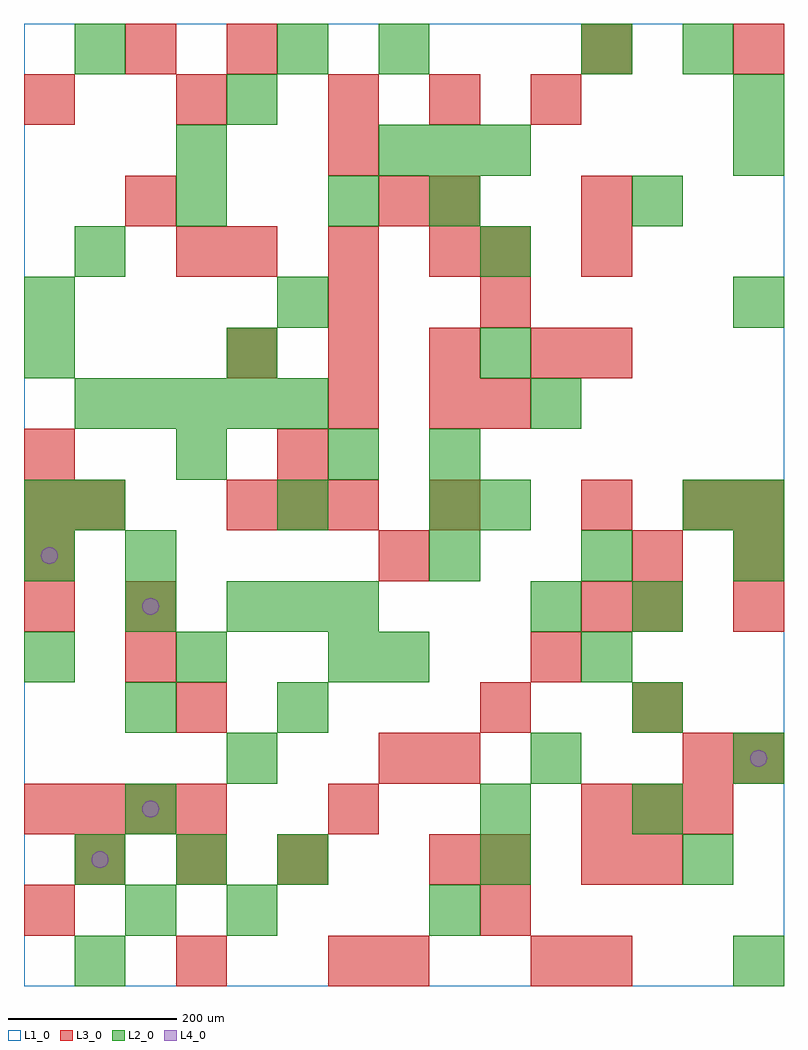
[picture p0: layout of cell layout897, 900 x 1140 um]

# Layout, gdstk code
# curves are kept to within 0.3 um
import gdstk
lib = gdstk.Library(unit=1e-6, precision=1e-09)
def R(c, l, rs):  # rectangles x0, y0, x1, y1
    for r in rs: c.add(gdstk.rectangle(r[:2], r[2:], *l))
def A(c, l, x, y, w, h, nx, ny, dx, dy):  # array of equal rectangles
    R(c, l, [(x+i*dx, y+j*dy, x+i*dx+w, y+j*dy+h) for i in range(nx) for j in range(ny)])
def P(c, l, *ps):  # polygons
    for p in ps: c.add(gdstk.Polygon(p, *l))
L1_0 = (1, 0)
L2_0 = (2, 0)
L3_0 = (3, 0)
L4_0 = (4, 0)

layout897 = lib.new_cell('layout897')
R(layout897, L1_0, [(0,0,900,1140)])
A(layout897, L2_0, 120, 60, 60, 60, 1, 4, 0, 120)
A(layout897, L2_0, 60, 120, 60, 60, 3, 1, 120, 0)
A(layout897, L2_0, 720, 180, 60, 60, 1, 3, 0, 120)
A(layout897, L2_0, 300, 300, 60, 60, 1, 3, 0, 240)
A(layout897, L2_0, 0, 360, 60, 60, 3, 1, 180, 0)
A(layout897, L2_0, 240, 420, 60, 60, 3, 1, 60, 0)
A(layout897, L2_0, 480, 480, 60, 60, 3, 1, 180, 0)
A(layout897, L2_0, 60, 660, 60, 60, 5, 1, 60, 0)
A(layout897, L2_0, 420, 960, 60, 60, 3, 1, 60, 0)
R(layout897, L2_0, [(60,0,120,60), (840,0,900,60), (240,60,300,120), (480,60,540,120), (540,120,600,180), (780,120,840,180), (540,180,600,240), (240,240,300,300), (600,240,660,300), (840,240,900,300), (420,360,480,420), (660,360,720,420), (600,420,660,480), (0,480,60,540), (120,480,180,540), (0,540,60,600), (60,540,120,600), (480,540,540,600), (540,540,600,600), (780,540,840,600), (840,540,900,600), (180,600,240,660), (360,600,420,660), (480,600,540,660), (600,660,660,720), (0,720,60,780), (240,720,300,780), (540,720,600,780), (0,780,60,840), (840,780,900,840), (60,840,120,900), (540,840,600,900), (180,900,240,960), (360,900,420,960), (480,900,540,960), (720,900,780,960), (180,960,240,1020), (840,960,900,1020), (240,1020,300,1080), (840,1020,900,1080), (60,1080,120,1140), (300,1080,360,1140), (420,1080,480,1140), (660,1080,720,1140), (780,1080,840,1140)])
A(layout897, L3_0, 420, 0, 60, 60, 1, 3, 0, 240)
A(layout897, L3_0, 60, 120, 60, 60, 3, 1, 120, 0)
A(layout897, L3_0, 0, 180, 60, 60, 4, 1, 60, 0)
A(layout897, L3_0, 660, 180, 60, 60, 3, 1, 60, 0)
A(layout897, L3_0, 0, 420, 60, 60, 1, 4, 0, 60)
A(layout897, L3_0, 840, 420, 60, 60, 1, 3, 0, 60)
A(layout897, L3_0, 240, 540, 60, 60, 3, 1, 60, 0)
A(layout897, L3_0, 240, 720, 60, 60, 4, 1, 120, 0)
A(layout897, L3_0, 240, 840, 60, 60, 3, 1, 120, 0)
A(layout897, L3_0, 0, 1020, 60, 60, 3, 1, 180, 0)
R(layout897, L3_0, [(180,0,240,60), (360,0,420,60), (600,0,660,60), (660,0,720,60), (0,60,60,120), (540,60,600,120), (480,120,540,180), (540,120,600,180), (660,120,720,180), (720,120,780,180), (360,180,420,240), (480,240,540,300), (780,240,840,300), (840,240,900,300), (180,300,240,360), (540,300,600,360), (720,300,780,360), (120,360,180,420), (600,360,660,420), (120,420,180,480), (660,420,720,480), (720,420,780,480), (720,480,780,540), (60,540,120,600), (480,540,540,600), (660,540,720,600), (780,540,840,600), (300,600,360,660), (360,660,420,720), (480,660,540,720), (540,660,600,720), (660,720,720,780), (360,780,420,840), (540,780,600,840), (180,840,240,900), (540,840,600,900), (660,840,720,900), (120,900,180,960), (420,900,480,960), (480,900,540,960), (660,900,720,960), (360,960,420,1020), (480,1020,540,1080), (600,1020,660,1080), (120,1080,180,1140), (240,1080,300,1140), (660,1080,720,1140), (840,1080,900,1140)])
P(layout897, L4_0, [(40,510),(39.239,513.827),(37.071,517.071),(33.827,519.239),(30,520),(26.173,519.239),(22.929,517.071),(20.761,513.827),(20,510),(20.761,506.173),(22.929,502.929),(26.173,500.761),(30,500),(33.827,500.761),(37.071,502.929),(39.239,506.173)],
  [(100,150),(99.239,153.827),(97.071,157.071),(93.827,159.239),(90,160),(86.173,159.239),(82.929,157.071),(80.761,153.827),(80,150),(80.761,146.173),(82.929,142.929),(86.173,140.761),(90,140),(93.827,140.761),(97.071,142.929),(99.239,146.173)],
  [(160,210),(159.239,213.827),(157.071,217.071),(153.827,219.239),(150,220),(146.173,219.239),(142.929,217.071),(140.761,213.827),(140,210),(140.761,206.173),(142.929,202.929),(146.173,200.761),(150,200),(153.827,200.761),(157.071,202.929),(159.239,206.173)],
  [(160,450),(159.239,453.827),(157.071,457.071),(153.827,459.239),(150,460),(146.173,459.239),(142.929,457.071),(140.761,453.827),(140,450),(140.761,446.173),(142.929,442.929),(146.173,440.761),(150,440),(153.827,440.761),(157.071,442.929),(159.239,446.173)],
  [(880,270),(879.239,273.827),(877.071,277.071),(873.827,279.239),(870,280),(866.173,279.239),(862.929,277.071),(860.761,273.827),(860,270),(860.761,266.173),(862.929,262.929),(866.173,260.761),(870,260),(873.827,260.761),(877.071,262.929),(879.239,266.173)])

lib.write_gds('layout897.gds')
